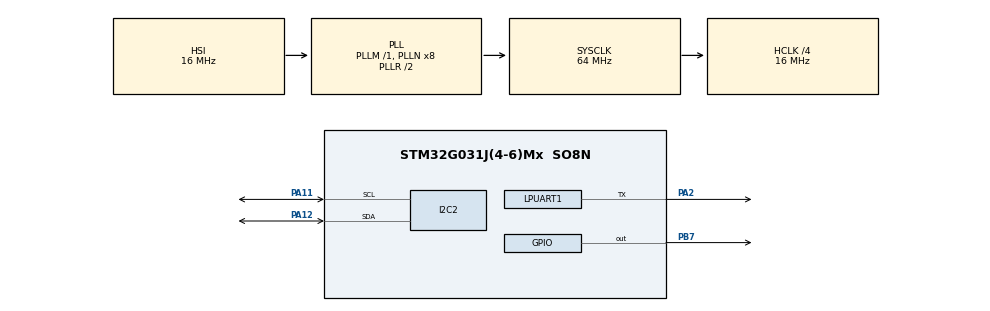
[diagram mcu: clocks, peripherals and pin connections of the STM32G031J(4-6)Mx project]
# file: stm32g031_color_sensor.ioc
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LPUART1.BaudRate=115200
LPUART1.Mode=UART_MODE_TX
LPUART1.WordLength=UART_WORDLENGTH_8B
Mcu.Family=STM32G0
Mcu.Name=STM32G031J(4-6)Mx
Mcu.Package=SO8N
PA11\ [PA9].Mode=I2C
PA11\ [PA9].Signal=I2C2_SCL
PA12\ [PA10].Mode=I2C
PA12\ [PA10].Signal=I2C2_SDA
PA13.Mode=Serial_Wire
PA13.Signal=SYS_SWDIO
PA14-BOOT0.Mode=Serial_Wire
PA14-BOOT0.Signal=SYS_SWCLK
PA2.Mode=Half_duplex(single_wire_mode)
PA2.Signal=LPUART1_TX
PB7.Signal=GPIO_Output
ProjectManager.HeapSize=0x200
ProjectManager.StackSize=0x400
ProjectManager.TargetToolchain=STM32CubeIDE
RCC.ADCFreq_Value=64000000
RCC.AHBCLKDivider=RCC_SYSCLK_DIV4
RCC.AHBFreq_Value=16000000
RCC.CortexFreq_Value=16000000
RCC.EXTERNAL_CLOCK_VALUE=12288000
RCC.HCLKFreq_Value=16000000
RCC.HSE_VALUE=8000000
RCC.HSI_VALUE=16000000
RCC.LSE_VALUE=32768
RCC.SYSCLKFreq_VALUE=64000000
RCC.SYSCLKSource=RCC_SYSCLKSOURCE_PLLCLK
RCC.VCOOutputFreq_Value=128000000
board=custom

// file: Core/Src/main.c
/* USER CODE BEGIN Header */
/**
  ******************************************************************************
  * @file           : main.c
  * @brief          : Main program body
  ******************************************************************************
  * @attention
  *
  * <h2><center>&copy; Copyright (c) 2021 STMicroelectronics.
  * All rights reserved.</center></h2>
  *
  * This software component is licensed by ST under BSD 3-Clause license,
  * the "License"; You may not use this file except in compliance with the
  * License. You may obtain a copy of the License at:
  *                        opensource.org/licenses/BSD-3-Clause
  *
  ******************************************************************************
  */
/* USER CODE END Header */

#include "main.h"
#include "i2c.h"
#include "usart.h"
#include "gpio.h"

/* USER CODE BEGIN Includes */
#include "stdarg.h"
#include "stdio.h"
/* USER CODE END Includes */

void SystemClock_Config(void);

/* USER CODE BEGIN 0 */

HAL_StatusTypeDef put(char c){
	uint8_t data[1]={c};
	return HAL_UART_Transmit(&hlpuart1, &data, 1, 10);
}
void print(uint8_t* s,int len){
	for(int i=0;i<len;i++){
		put(s[i]);
	}
}
void print_uart(const char *format, ...){

	uint8_t buffer[128];
	va_list args;
	va_start(args,format);

	int n=vsprintf((char*)buffer,format,args);
	HAL_UART_Transmit(&hlpuart1, buffer, n,100);

	va_end(args);

}

uint8_t color_addr=0x2A<<1;

void init_S11059(){
	uint8_t data[2];
	data[0]=0x00;
	data[1]=0b10001001;

	if(HAL_I2C_Master_Transmit(&hi2c2, color_addr, &data, 2, 1000)==HAL_OK){
		print_uart("ok\r\n");
	}
	data[0]=0x00;
	data[1]=0b00001001;
	if(HAL_I2C_Master_Transmit(&hi2c2, color_addr, &data, 2, 1000)==HAL_OK){
		print_uart("ok\r\n");
	}
	HAL_Delay(2000);
}

void Updata_S11059(){
	uint8_t data_read[0]={0x03};
	uint8_t sensor[8]={0,0,0,0,0,0,0,0};

	HAL_I2C_Mem_Read(&hi2c2, color_addr|0b1, 0x03, 1, sensor, 8, 1000);

	int r =(((uint16_t)sensor[0])<<8 )| (uint16_t)sensor[1];
	int g =(((uint16_t)sensor[2])<<8 )| (uint16_t)sensor[3];
	int b =(((uint16_t)sensor[4])<<8 )| (uint16_t)sensor[5];
	int ir=(((uint16_t)sensor[6])<<8 )| (uint16_t)sensor[7];
	print_uart("r%5d,g%5d,b%5d,ir%5d\r\n",r,g,b,ir);
}
/* USER CODE END 0 */

int main(void)
{

  /* MCU Configuration--------------------------------------------------------*/

  /* Reset of all peripherals, Initializes the Flash interface and the Systick. */
  HAL_Init();

  /* Configure the system clock */
  SystemClock_Config();

  /* Initialize all configured peripherals */
  MX_GPIO_Init();
  MX_LPUART1_UART_Init();
  MX_I2C2_Init();
  /* USER CODE BEGIN 2 */
  HAL_Delay(100);
  init_S11059();
  print_uart("start!\r\n");

  /* USER CODE END 2 */

  /* Infinite loop */
  while (1)
  {

    /* USER CODE BEGIN 3 */
	  Updata_S11059();

	  HAL_GPIO_TogglePin(GPIOB, GPIO_PIN_7);
	  HAL_Delay(100);

  }
  /* USER CODE END 3 */
}

void SystemClock_Config(void)
{
  RCC_OscInitTypeDef RCC_OscInitStruct = {0};
  RCC_ClkInitTypeDef RCC_ClkInitStruct = {0};
  RCC_PeriphCLKInitTypeDef PeriphClkInit = {0};

  /** Configure the main internal regulator output voltage
  */
  HAL_PWREx_ControlVoltageScaling(PWR_REGULATOR_VOLTAGE_SCALE1);
  /** Initializes the CPU, AHB and APB busses clocks
  */
  RCC_OscInitStruct.OscillatorType = RCC_OSCILLATORTYPE_HSI;
  RCC_OscInitStruct.HSIState = RCC_HSI_ON;
  RCC_OscInitStruct.HSIDiv = RCC_HSI_DIV1;
  RCC_OscInitStruct.HSICalibrationValue = RCC_HSICALIBRATION_DEFAULT;
  RCC_OscInitStruct.PLL.PLLState = RCC_PLL_ON;
  RCC_OscInitStruct.PLL.PLLSource = RCC_PLLSOURCE_HSI;
  RCC_OscInitStruct.PLL.PLLM = RCC_PLLM_DIV1;
  RCC_OscInitStruct.PLL.PLLN = 8;
  RCC_OscInitStruct.PLL.PLLP = RCC_PLLP_DIV2;
  RCC_OscInitStruct.PLL.PLLQ = RCC_PLLQ_DIV2;
  RCC_OscInitStruct.PLL.PLLR = RCC_PLLR_DIV2;
  if (HAL_RCC_OscConfig(&RCC_OscInitStruct) != HAL_OK)
  {
    Error_Handler();
  }
  /** Initializes the CPU, AHB and APB busses clocks
  */
  RCC_ClkInitStruct.ClockType = RCC_CLOCKTYPE_HCLK|RCC_CLOCKTYPE_SYSCLK
                              |RCC_CLOCKTYPE_PCLK1;
  RCC_ClkInitStruct.SYSCLKSource = RCC_SYSCLKSOURCE_PLLCLK;
  RCC_ClkInitStruct.AHBCLKDivider = RCC_SYSCLK_DIV4;
  RCC_ClkInitStruct.APB1CLKDivider = RCC_HCLK_DIV1;

  if (HAL_RCC_ClockConfig(&RCC_ClkInitStruct, FLASH_LATENCY_0) != HAL_OK)
  {
    Error_Handler();
  }
  /** Initializes the peripherals clocks
  */
  PeriphClkInit.PeriphClockSelection = RCC_PERIPHCLK_LPUART1;
  PeriphClkInit.Lpuart1ClockSelection = RCC_LPUART1CLKSOURCE_PCLK1;
  if (HAL_RCCEx_PeriphCLKConfig(&PeriphClkInit) != HAL_OK)
  {
    Error_Handler();
  }
}

void Error_Handler(void)
{
}

/************************ (C) COPYRIGHT STMicroelectronics *****END OF FILE****/
